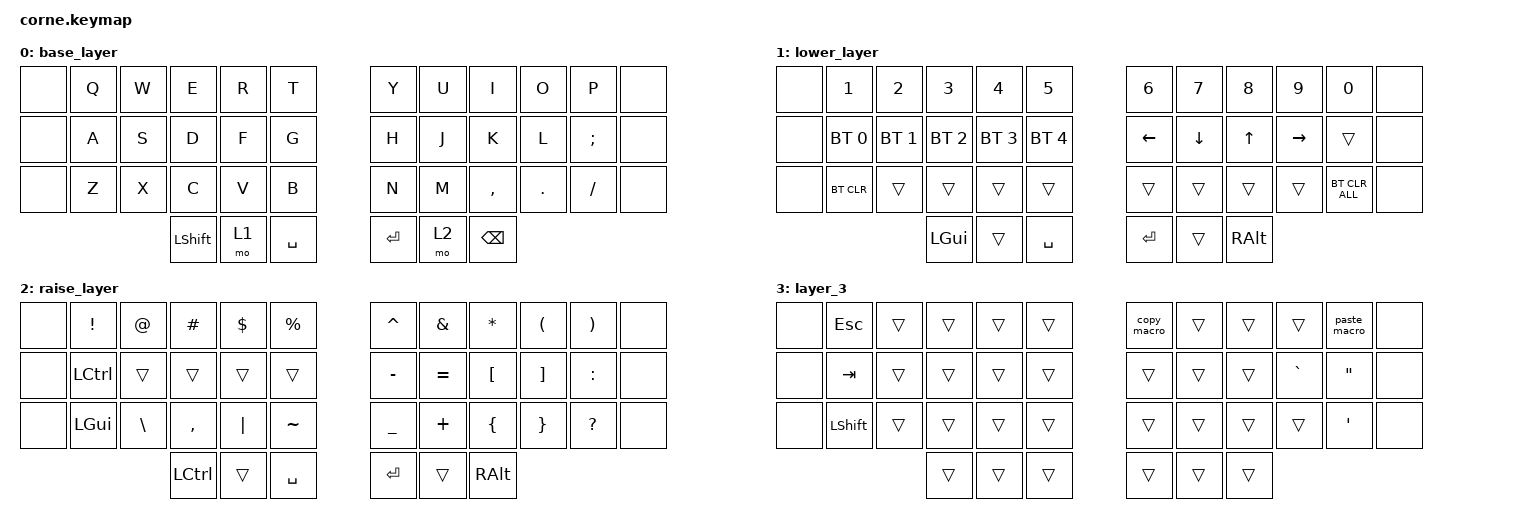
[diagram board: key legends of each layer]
/*
 * Copyright (c) 2020 The ZMK Contributors
 *
 * SPDX-License-Identifier: MIT
 */

#include <behaviors.dtsi>
#include <dt-bindings/zmk/bt.h>
#include <dt-bindings/zmk/keys.h>

/ {
    combos {
        compatible = "zmk,combos";

        layer_3_combo {
            bindings = <&mo 3>;
            key-positions = <37 40>;
        };

        top_esc {
            bindings = <&kp ESCAPE>;
            key-positions = <0 11>;
        };

        ctrl {
            bindings = <&kp LCTRL>;
            key-positions = <36 41>;
        };

        alt {
            bindings = <&kp LEFT_ALT>;
            key-positions = <36 40>;
        };
    };

    macros {
        copy_macro: copy {
            compatible = "zmk,behavior-macro";
            #binding-cells = <0>;
            bindings =
                <&macro_press>,
                <&kp LCTRL>,
                <&macro_tap>,
                <&kp C>,
                <&macro_release>;

            label = "COPY";
        };

        paste_macro: paste_macro {
            compatible = "zmk,behavior-macro";
            #binding-cells = <0>;
            bindings =
                <&macro_press>,
                <&kp LCTRL>,
                <&macro_tap>,
                <&kp V>,
                <&macro_release>;

            label = "PASTE_MACRO";
        };
    };

    keymap {
        compatible = "zmk,keymap";

        base_layer {
            // -----------------------------------------------------------------------------------------
            // |  TAB |  Q  |  W  |  E  |  R  |  T  |   |  Y  |  U   |  I  |  O  |  P  | BKSP |
            // | CTRL |  A  |  S  |  D  |  F  |  G  |   |  H  |  J   |  K  |  L  |  ;  |  '   |
            // | SHFT |  Z  |  X  |  C  |  V  |  B  |   |  N  |  M   |  ,  |  .  |  /  | ESC  |
            //                    | GUI | LWR | SPC |   | ENT | RSE  | ALT |

            bindings = <
&none  &kp Q  &kp W  &kp E           &kp R  &kp T        &kp Y    &kp U  &kp I          &kp O    &kp P     &none
&none  &kp A  &kp S  &kp D           &kp F  &kp G        &kp H    &kp J  &kp K          &kp L    &kp SEMI  &none
&none  &kp Z  &kp X  &kp C           &kp V  &kp B        &kp N    &kp M  &kp COMMA      &kp DOT  &kp FSLH  &none
                     &kp LEFT_SHIFT  &mo 1  &kp SPACE    &kp RET  &mo 2  &kp BACKSPACE
            >;
        };

        lower_layer {
            // -----------------------------------------------------------------------------------------
            // |  TAB |  1  |  2  |  3  |  4  |  5  |   |  6  |  7  |  8  |  9  |  0  | BKSP |
            // | BTCLR| BT1 | BT2 | BT3 | BT4 | BT5 |   | LFT | DWN |  UP | RGT |     |      |
            // | SHFT |     |     |     |     |     |   |     |     |     |     |     |      |
            //                    | GUI |     | SPC |   | ENT |     | ALT |

            bindings = <
&none  &kp N1        &kp N2        &kp N3        &kp N4        &kp N5          &kp N6    &kp N7    &kp N8    &kp N9     &kp N0          &none
&none  &bt BT_SEL 0  &bt BT_SEL 1  &bt BT_SEL 2  &bt BT_SEL 3  &bt BT_SEL 4    &kp LEFT  &kp DOWN  &kp UP    &kp RIGHT  &trans          &none
&none  &bt BT_CLR    &trans        &trans        &trans        &trans          &trans    &trans    &trans    &trans     &bt BT_CLR_ALL  &none
                                   &kp LGUI      &trans        &kp SPACE       &kp RET   &trans    &kp RALT
            >;
        };

        raise_layer {
            // -----------------------------------------------------------------------------------------
            // |  TAB |  !  |  @  |  #  |  $  |  %  |   |  ^  |  &  |  *  |  (  |  )  | BKSP |
            // | CTRL |     |     |     |     |     |   |  -  |  =  |  [  |  ]  |  \  |  `   |
            // | SHFT |     |     |     |     |     |   |  _  |  +  |  {  |  }  | "|" |  ~   |
            //                    | GUI |     | SPC |   | ENT |     | ALT |

            bindings = <
&none  &kp EXCL          &kp AT    &kp HASH          &kp DLLR  &kp PRCNT    &kp CARET  &kp AMPS   &kp ASTRK  &kp LPAR  &kp RPAR      &none
&none  &kp LEFT_CONTROL  &trans    &trans            &trans    &trans       &kp MINUS  &kp EQUAL  &kp LBKT   &kp RBKT  &kp COLON     &none
&none  &kp LGUI          &kp BSLH  &kp COMMA         &kp PIPE  &kp TILDE    &kp UNDER  &kp PLUS   &kp LBRC   &kp RBRC  &kp QUESTION  &none
                                   &kp LEFT_CONTROL  &trans    &kp SPACE    &kp RET    &trans     &kp RALT
            >;
        };

        layer_3 {
            bindings = <
&none  &kp ESCAPE      &trans  &trans  &trans  &trans    &copy_macro  &trans  &trans  &trans     &paste_macro       &none
&none  &kp TAB         &trans  &trans  &trans  &trans    &trans       &trans  &trans  &kp GRAVE  &kp DOUBLE_QUOTES  &none
&none  &kp LEFT_SHIFT  &trans  &trans  &trans  &trans    &trans       &trans  &trans  &trans     &kp SINGLE_QUOTE   &none
                               &trans  &trans  &trans    &trans       &trans  &trans
            >;
        };
    };
};
